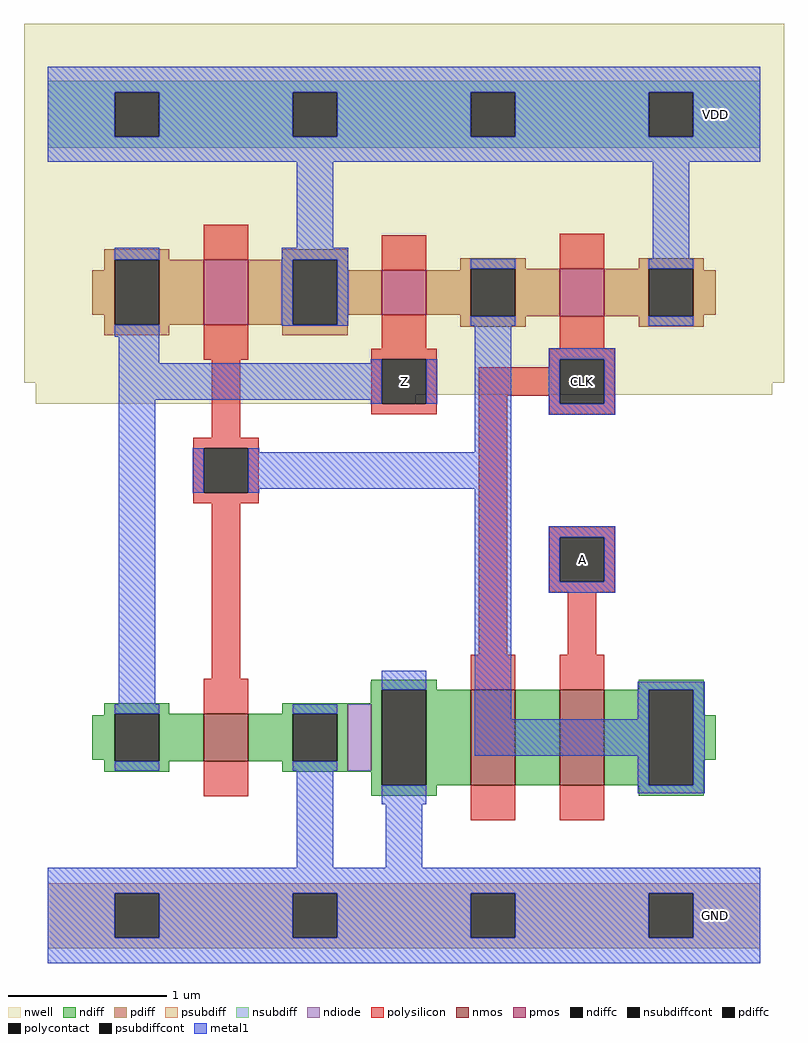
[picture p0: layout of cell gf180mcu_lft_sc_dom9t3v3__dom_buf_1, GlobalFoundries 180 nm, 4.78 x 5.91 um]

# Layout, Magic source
magic
tech gf180mcuD
magscale 1 10
<< nwell >>
rect -30 670 926 1122
rect -15 655 911 670
rect -15 644 463 655
<< nmos >>
rect 196 194 252 254
rect 532 164 588 284
rect 644 164 700 284
<< pmos >>
rect 196 743 252 825
rect 420 756 476 812
rect 644 754 700 814
<< ndiff >>
rect 71 254 153 267
rect 407 294 489 297
rect 406 284 489 294
rect 743 284 825 297
rect 406 267 420 284
rect 295 266 420 267
rect 295 254 377 266
rect 71 252 84 254
rect 56 196 84 252
rect 71 194 84 196
rect 140 194 196 254
rect 252 194 308 254
rect 364 194 377 254
rect 71 181 153 194
rect 295 182 377 194
rect 407 182 420 266
rect 295 181 420 182
rect 407 164 420 181
rect 476 164 532 284
rect 588 164 644 284
rect 700 164 756 284
rect 812 252 825 284
rect 812 196 840 252
rect 812 164 825 196
rect 407 151 489 164
rect 743 151 825 164
<< pdiff >>
rect 71 825 153 838
rect 295 825 377 838
rect 71 812 84 825
rect 56 756 84 812
rect 71 743 84 756
rect 140 743 196 825
rect 252 743 308 825
rect 364 812 377 825
rect 519 814 601 827
rect 743 814 825 827
rect 519 812 532 814
rect 364 756 420 812
rect 476 756 532 812
rect 364 743 377 756
rect 71 730 153 743
rect 295 730 377 743
rect 519 754 532 756
rect 588 754 644 814
rect 700 754 756 814
rect 812 812 825 814
rect 812 756 840 812
rect 812 754 825 756
rect 519 741 601 754
rect 743 741 825 754
<< ndiffc >>
rect 84 194 140 254
rect 308 194 364 254
rect 420 164 476 284
rect 756 164 812 284
<< pdiffc >>
rect 84 743 140 825
rect 308 743 364 825
rect 532 754 588 814
rect 756 754 812 814
<< psubdiff >>
rect 0 28 896 41
rect 0 -28 84 28
rect 140 -28 308 28
rect 364 -28 532 28
rect 588 -28 756 28
rect 812 -28 896 28
rect 0 -41 896 -28
<< nsubdiff >>
rect 0 1036 896 1050
rect 0 980 84 1036
rect 140 980 308 1036
rect 364 980 532 1036
rect 588 980 756 1036
rect 812 980 896 1036
rect 0 966 896 980
<< psubdiffcont >>
rect 84 -28 140 28
rect 308 -28 364 28
rect 532 -28 588 28
rect 756 -28 812 28
<< nsubdiffcont >>
rect 84 980 140 1036
rect 308 980 364 1036
rect 532 980 588 1036
rect 756 980 812 1036
<< polysilicon >>
rect 196 825 252 869
rect 420 812 476 856
rect 644 814 700 858
rect 196 699 252 743
rect 420 713 476 756
rect 644 713 700 754
rect 407 700 489 713
rect 206 601 242 699
rect 407 644 420 700
rect 476 644 489 700
rect 631 700 713 713
rect 631 690 644 700
rect 407 631 489 644
rect 542 654 644 690
rect 183 588 265 601
rect 183 532 196 588
rect 252 532 265 588
rect 183 519 265 532
rect 206 298 242 519
rect 542 328 578 654
rect 631 644 644 654
rect 700 644 713 700
rect 631 631 713 644
rect 631 476 713 489
rect 631 420 644 476
rect 700 420 713 476
rect 631 407 713 420
rect 654 328 690 407
rect 196 254 252 298
rect 532 284 588 328
rect 644 284 700 328
rect 196 150 252 194
rect 532 120 588 164
rect 644 120 700 164
<< polycontact >>
rect 420 644 476 700
rect 196 532 252 588
rect 644 644 700 700
rect 644 420 700 476
<< ndiode >>
rect 377 182 407 266
<< metal1 >>
rect 0 1036 896 1068
rect 0 980 84 1036
rect 140 980 308 1036
rect 364 980 532 1036
rect 588 980 756 1036
rect 812 980 896 1036
rect 0 948 896 980
rect 313 840 359 948
rect 84 825 140 840
rect 84 728 140 743
rect 294 825 378 840
rect 761 826 807 948
rect 294 743 308 825
rect 364 743 378 825
rect 294 742 378 743
rect 532 814 588 826
rect 532 742 588 754
rect 756 814 812 826
rect 756 742 812 754
rect 89 695 140 728
rect 406 695 420 700
rect 89 649 420 695
rect 89 266 135 649
rect 406 644 420 649
rect 476 644 490 700
rect 182 532 196 588
rect 252 583 266 588
rect 537 583 583 742
rect 630 700 714 714
rect 630 644 644 700
rect 700 644 714 700
rect 630 630 714 644
rect 252 537 583 583
rect 252 532 266 537
rect 420 284 476 308
rect 84 254 140 266
rect 84 182 140 194
rect 308 254 364 266
rect 308 182 364 194
rect 313 60 359 182
rect 537 247 583 537
rect 630 476 714 490
rect 630 420 644 476
rect 700 420 714 476
rect 630 406 714 420
rect 742 284 826 294
rect 742 247 756 284
rect 537 201 756 247
rect 420 140 476 164
rect 742 164 756 201
rect 812 164 826 284
rect 742 154 826 164
rect 425 60 471 140
rect 0 28 896 60
rect 0 -28 84 28
rect 140 -28 308 28
rect 364 -28 532 28
rect 588 -28 756 28
rect 812 -28 896 28
rect 0 -60 896 -28
<< labels >>
rlabel metal1 840 0 840 0 3 GND
port 1 e
rlabel metal1 840 1008 840 1008 3 VDD
port 2 e
rlabel polycontact 672 448 672 448 3 A
port 3 e
rlabel polycontact 672 672 672 672 3 CLK
port 4 e
rlabel polycontact 448 672 448 672 3 Z
port 5 e
<< properties >>
string FIXED_BBOX 0 0 896 1008
<< end >>
